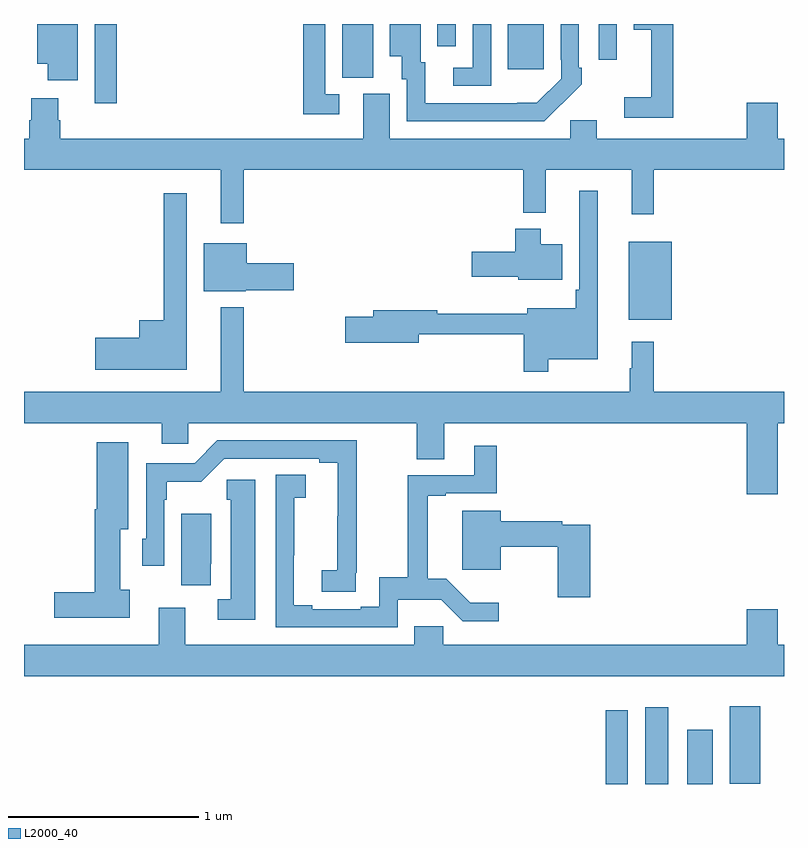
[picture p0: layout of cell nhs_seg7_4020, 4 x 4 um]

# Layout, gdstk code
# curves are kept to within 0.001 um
import gdstk
lib = gdstk.Library(unit=1e-6, precision=1e-09)
def R(c, l, rs):  # rectangles x0, y0, x1, y1
    for r in rs: c.add(gdstk.rectangle(r[:2], r[2:], *l))
def P(c, l, *ps):  # polygons
    for p in ps: c.add(gdstk.Polygon(p, *l))
L2000_40 = (2000, 40)

nhs_seg7_4020 = lib.new_cell('nhs_seg7_4020')
R(nhs_seg7_4020, L2000_40, [(368.062,1048,368.178,1048.387), (368.27,1048,368.392,1048.405), (368.492,1048,368.626,1048.285), (368.714,1048.002,368.875,1048.408), (368.183,1050.443,368.41,1050.853), (365.373,1051.584,365.489,1052), (366.674,1051.717,366.838,1052), (367.547,1051.761,367.735,1052), (368.025,1051.812,368.121,1052), (367.176,1051.884,367.272,1052)])
P(nhs_seg7_4020, L2000_40, [(366.658,1051.629),(366.585,1051.629),(366.585,1052),(366.469,1052),(366.469,1051.524),(366.658,1051.524)],
  [(365.284,1052),(365.069,1052),(365.069,1051.79),(365.126,1051.79),(365.126,1051.704),(365.284,1051.704)],
  [(367.458,1052),(367.362,1052),(367.362,1051.77),(367.26,1051.77),(367.26,1051.674),(367.458,1051.674)],
  [(368.417,1052),(368.21,1052),(368.21,1051.97),(368.3,1051.97),(368.3,1051.615),(368.16,1051.615),(368.16,1051.506),(368.417,1051.506)],
  [(367.829,1051.579),(367.83,1051.578),(367.935,1051.683),(367.935,1051.771),(367.92,1051.771),(367.92,1052),(367.824,1052),(367.824,1051.813),(367.827,1051.813),(367.827,1051.713),(367.699,1051.585),(367.595,1051.584),(367.111,1051.584),(367.111,1051.8),(367.087,1051.8),(367.087,1052),(366.926,1052),(366.926,1051.829),(366.989,1051.829),(366.989,1051.71),(367.014,1051.71),(367.014,1051.488),(367.738,1051.488)],
  [(366.157,1051.232),(367.627,1051.232),(367.627,1051.007),(367.745,1051.007),(367.745,1051.232),(368.198,1051.232),(368.198,1050.999),(368.315,1050.999),(368.315,1051.232),(369,1051.232),(369,1051.396),(368.968,1051.396),(368.968,1051.585),(368.804,1051.585),(368.804,1051.396),(368.014,1051.396),(368.014,1051.494),(367.875,1051.494),(367.875,1051.396),(366.925,1051.396),(366.925,1051.632),(366.785,1051.632),(366.785,1051.396),(365.192,1051.396),(365.192,1051.494),(365.179,1051.494),(365.179,1051.609),(365.039,1051.609),(365.039,1051.494),(365.027,1051.494),(365.027,1051.396),(365,1051.396),(365,1051.232),(366.035,1051.232),(366.035,1050.951),(366.157,1050.951)],
  [(367.759,1050.236),(368.02,1050.236),(368.02,1051.123),(367.923,1051.123),(367.923,1050.601),(367.903,1050.601),(367.903,1050.505),(367.649,1050.505),(367.649,1050.476),(367.174,1050.476),(367.174,1050.494),(366.839,1050.494),(366.839,1050.458),(366.69,1050.458),(366.69,1050.323),(367.078,1050.323),(367.078,1050.366),(367.63,1050.366),(367.63,1050.171),(367.759,1050.171)],
  [(365.857,1051.108),(365.736,1051.108),(365.736,1050.442),(365.606,1050.442),(365.606,1050.35),(365.376,1050.35),(365.376,1050.179),(365.857,1050.179)],
  [(367.834,1050.841),(367.72,1050.841),(367.72,1050.922),(367.586,1050.922),(367.586,1050.801),(367.356,1050.801),(367.356,1050.671),(367.602,1050.671),(367.602,1050.653),(367.834,1050.653)],
  [(366.168,1050.599),(366.421,1050.599),(366.421,1050.741),(366.172,1050.741),(366.172,1050.847),(365.945,1050.847),(365.945,1050.593),(366.168,1050.593)],
  [(368.968,1049.9),(369,1049.9),(369,1050.064),(368.315,1050.064),(368.315,1050.328),(368.198,1050.328),(368.198,1050.188),(368.187,1050.188),(368.187,1050.064),(366.157,1050.064),(366.157,1050.508),(366.035,1050.508),(366.035,1050.064),(365,1050.064),(365,1049.9),(365.726,1049.9),(365.726,1049.79),(365.865,1049.79),(365.865,1049.9),(367.066,1049.9),(367.066,1049.71),(367.213,1049.71),(367.213,1049.9),(368.804,1049.9),(368.804,1049.526),(368.968,1049.526)],
  [(366.746,1049.113),(366.752,1049.113),(366.752,1049.808),(366.018,1049.808),(365.898,1049.688),(365.643,1049.688),(365.643,1049.292),(365.622,1049.292),(365.622,1049.148),(365.739,1049.148),(365.739,1049.495),(365.752,1049.495),(365.752,1049.591),(365.933,1049.591),(366.054,1049.712),(366.554,1049.712),(366.554,1049.692),(366.65,1049.692),(366.649,1049.126),(366.567,1049.126),(366.567,1049.011),(366.746,1049.011)],
  [(365.557,1049.022),(365.506,1049.022),(365.506,1049.342),(365.548,1049.342),(365.548,1049.8),(365.384,1049.8),(365.384,1049.446),(365.372,1049.446),(365.372,1049.009),(365.16,1049.009),(365.16,1048.874),(365.557,1048.874)],
  [(366.966,1048.97),(367.195,1048.97),(367.308,1048.857),(367.498,1048.857),(367.498,1048.954),(367.349,1048.954),(367.223,1049.08),(367.124,1049.08),(367.124,1049.517),(367.219,1049.517),(367.219,1049.529),(367.487,1049.529),(367.487,1049.779),(367.37,1049.779),(367.37,1049.625),(367.021,1049.625),(367.021,1049.087),(366.87,1049.087),(366.87,1048.934),(366.773,1048.934),(366.773,1048.92),(366.517,1048.92),(366.517,1048.94),(366.421,1048.94),(366.421,1049.203),(366.423,1049.203),(366.423,1049.507),(366.484,1049.507),(366.484,1049.627),(366.324,1049.627),(366.324,1048.824),(366.966,1048.824)],
  [(366.217,1049.602),(366.067,1049.602),(366.067,1049.496),(366.089,1049.496),(366.089,1048.973),(366.021,1048.973),(366.021,1048.865),(366.217,1048.865)],
  [(367.979,1049.364),(367.832,1049.364),(367.832,1049.384),(367.51,1049.384),(367.51,1049.437),(367.307,1049.437),(367.307,1049.127),(367.51,1049.127),(367.51,1049.248),(367.808,1049.248),(367.808,1048.983),(367.979,1048.983)],
  [(365.984,1049.158),(365.986,1049.158),(365.986,1049.422),(365.828,1049.422),(365.828,1049.046),(365.984,1049.046)],
  [(369,1048.732),(368.968,1048.732),(368.968,1048.921),(368.804,1048.921),(368.804,1048.732),(367.207,1048.732),(367.207,1048.83),(367.055,1048.83),(367.055,1048.732),(365.848,1048.732),(365.848,1048.927),(365.708,1048.927),(365.708,1048.732),(365,1048.732),(365,1048.568),(369,1048.568)])

lib.write_gds('nhs_seg7_4020.gds')
